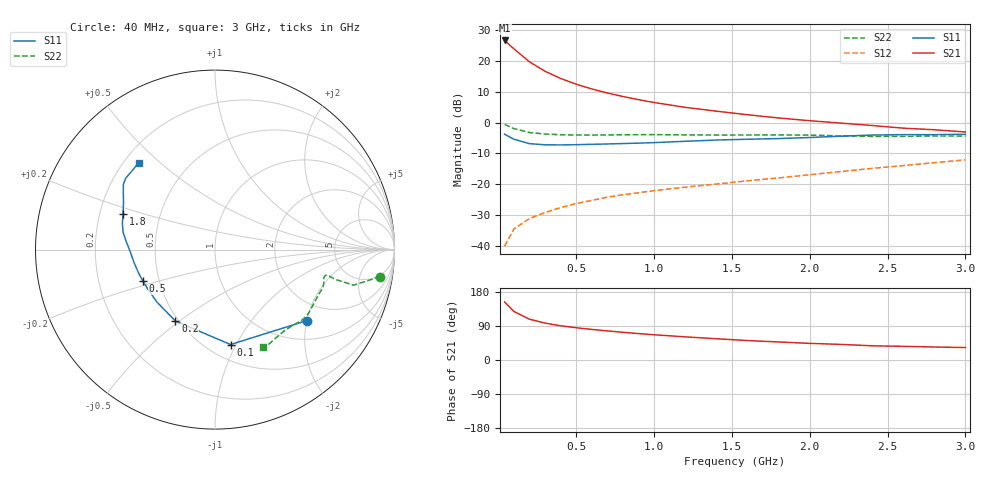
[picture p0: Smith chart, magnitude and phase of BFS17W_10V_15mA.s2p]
! Filename:  BFS17WI.S2P  Version:  4.0
! Philips part #: BFS17W  Date: Jun 1994
! Bias condition: Vce=10V, Ic=15mA
#  MHz  S  MA  R  50
! Freq  S11  S21  S12  S22  !GUM [dB]
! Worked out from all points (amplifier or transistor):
!   21 points, 40 MHz to 3 GHz, reference 50 ohm
!   highest |S21| = 26.5 dB at 40 MHz (marker M1)
!   |S21| within 3 dB of that: start of sweep to 106.6 MHz
!   unconditionally stable (mu >= 1): 366.3 MHz to 2.276 GHz
!   at 300 MHz: K = 0.93, MSG = 22.8 dB, |S12| = -29.1 dB
!   at 1 GHz: K = 1.19, MAG = 11.6 dB, |S12| = -22.0 dB
!   at 3 GHz: K = 0.93, MSG = 4.5 dB, |S12| = -12.1 dB
!   S11 on the Smith chart (normalised r, x): 40 MHz: 1.47, -2.00; 100 MHz: 0.64, -0.95; 200 MHz: 0.48, -0.48; 500 MHz: 0.41, -0.18; 1.8 GHz: 0.30, +0.17; 3 GHz: 0.26, +0.43
40  0.646 -37.8  21.24 153.1  0.01 73.2  0.933 -9.3
100  0.536 -80.7  15.53 127.9  0.019 60.6  0.797 -14.4
200  0.455 -119.0  9.578 107.6  0.028 58.0  0.689 -13.9
300  0.436 -138.0  6.734 97.3  0.035 59.5  0.651 -13.0
400  0.434 -149.2  5.154 90.3  0.042 62.3  0.634 -13.0
500  0.438 -156.4  4.161 85.1  0.049 63.7  0.628 -13.7
600  0.444 -162.1  3.49 80.7  0.055 65.5  0.627 -14.8
700  0.45 -166.8  3.003 76.8  0.062 67.1  0.63 -15.9
800  0.457 -171.0  2.637 73.1  0.068 68.2  0.634 -17.1
900  0.464 -175.0  2.343 69.7  0.073 69.3  0.636 -18.2
1000  0.473 -178.7  2.108 66.6  0.079 70.8  0.637 -19.5
1200  0.497 174.7  1.76 61.1  0.09 73.6  0.631 -22.5
1400  0.521 169.3  1.527 56.1  0.101 76.7  0.627 -26.6
1600  0.536 164.3  1.336 51.3  0.114 79.5  0.628 -31.1
1800  0.55 158.7  1.185 47.6  0.127 82.7  0.631 -35.0
2000  0.572 153.0  1.069 43.9  0.143 85.4  0.625 -38.6
2200  0.601 148.2  0.978 41.2  0.161 87.4  0.609 -43.1
2400  0.627 144.5  0.895 37.5  0.181 89.0  0.595 -49.0
2600  0.637 141.3  0.811 36.1  0.201 89.7  0.597 -55.1
2800  0.637 136.8  0.764 34.3  0.224 90.3  0.606 -60.0
3000  0.645 131.3  0.703 32.9  0.249 90.6  0.604 -63.8
